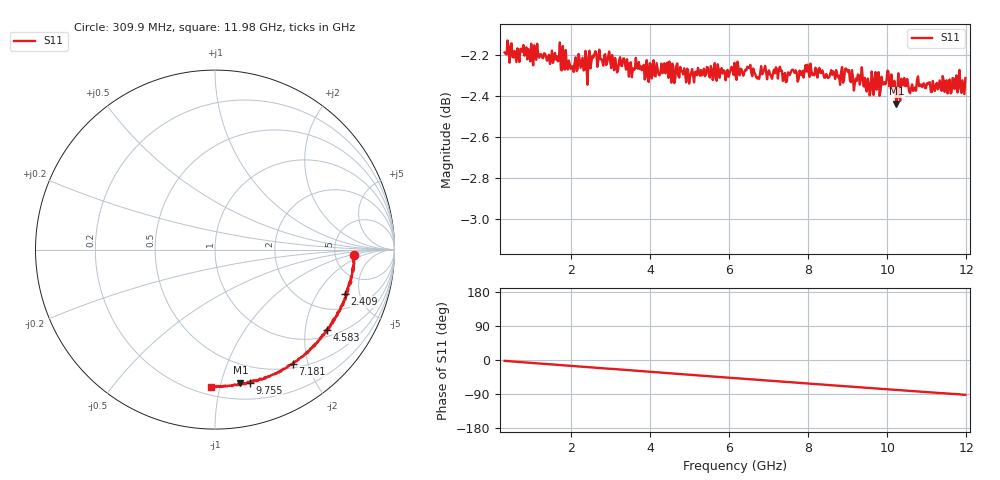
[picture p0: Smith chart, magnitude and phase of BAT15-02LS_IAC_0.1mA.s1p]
! Infineon Technologies  Discrete & RF Semiconductors
! BAT15-02ELS
! IAC = 0.1 mA
! One-Port S-Parameters
# Hz  S  MA  R  50
!f  S11
!Hz  Mag  Ang
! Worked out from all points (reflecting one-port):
!   468 points, 309.9 MHz to 11.98 GHz, reference 50 ohm
!   lowest |S11| = -2.4 dB at 10.23 GHz (marker M1), VSWR 7.17, Z = 16.7 - j57.6 ohm
!   phase of S11 starts at -2 deg and turns -89 deg over the sweep
!   S11 on the Smith chart (normalised r, x): 309.9 MHz: 7.79, -1.18; 2.409 GHz: 3.03, -3.58; 4.583 GHz: 1.18, -2.63; 7.181 GHz: 0.56, -1.75; 9.755 GHz: 0.34, -1.24; 11.98 GHz: 0.25, -0.94
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3.0985e8  0.7772 -2.2
4.347875e8  0.7728 -3.2
5.59725e8  0.7779 -4.1
7.59625e8  0.7774 -5.8
1.10945e9  0.774 -8.6
1.659175e9  0.7733 -13.0
1.784112e9  0.78 -13.9
2.4088e9  0.7632 -18.8
2.583712e9  0.7762 -20.1
3.233388e9  0.7751 -25.0
4.457775e9  0.7662 -34.7
4.582712e9  0.7712 -35.7
4.70765e9  0.7671 -36.7
6.156925e9  0.7673 -47.9
7.181412e9  0.7708 -55.7
7.4063e9  0.7683 -57.6
7.6062e9  0.7697 -59.0
8.230888e9  0.7663 -64.0
9.080462e9  0.7643 -70.3
9.755125e9  0.7662 -75.4
1.005498e10  0.7618 -77.7
1.022989e10  0.7552 -79.2
1.052974e10  0.7634 -81.2
1.145428e10  0.7602 -88.1
1.157921e10  0.7655 -88.8
1.177911e10  0.76 -90.4
1.190405e10  0.7652 -91.2
1.197901e10  0.7661 -91.7
